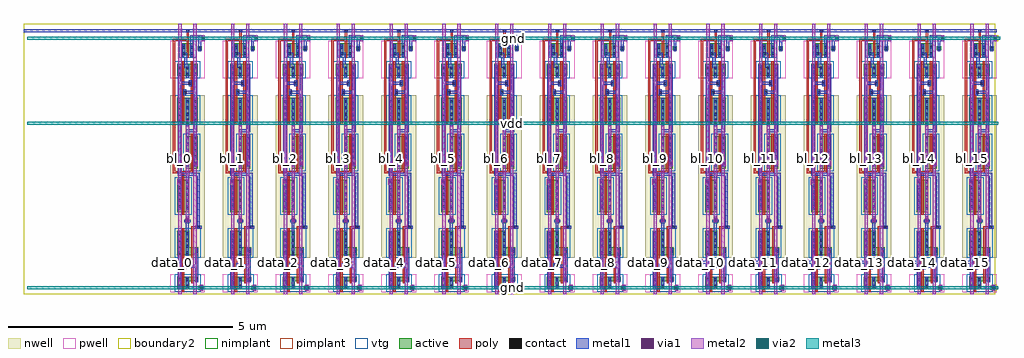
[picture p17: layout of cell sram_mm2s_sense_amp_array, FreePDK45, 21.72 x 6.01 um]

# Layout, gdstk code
import gdstk
lib = gdstk.Library(unit=1e-6, precision=5e-10)
def R(c, l, rs):  # rectangles x0, y0, x1, y1
    for r in rs: c.add(gdstk.rectangle(r[:2], r[2:], *l))
def A(c, l, x, y, w, h, nx, ny, dx, dy):  # array of equal rectangles
    R(c, l, [(x+i*dx, y+j*dy, x+i*dx+w, y+j*dy+h) for i in range(nx) for j in range(ny)])
def P(c, l, *ps):  # polygons
    for p in ps: c.add(gdstk.Polygon(p, *l))
active = (1, 0)
pwell = (2, 0)
nwell = (3, 0)
nimplant = (4, 0)
pimplant = (5, 0)
vtg = (6, 0)
poly = (9, 0)
contact = (10, 0)
metal1 = (11, 0)
via1 = (12, 0)
metal2 = (13, 0)
via2 = (14, 0)
metal3 = (15, 0)
boundary2 = (239, 0)

sense_amp = lib.new_cell('sense_amp')
R(sense_amp, active, [(0.595,0.095,0.685,0.185), (0.3075,1.58,0.3975,1.67), (0.1275,1.82,0.3875,2.54), (0.1275,1.82,0.2025,2.54), (0.1275,1.82,0.2025,2.54), (0.3125,1.82,0.3875,2.54), (0.3125,1.82,0.3875,2.54), (0.1275,1.905,0.2025,2.54), (0.3125,1.905,0.3875,2.54), (0.3175,2.79,0.5775,3.51), (0.3175,2.79,0.3925,3.51), (0.3175,2.79,0.3925,3.51), (0.5025,2.79,0.5775,3.51), (0.5025,2.79,0.5775,3.51), (0.3175,2.875,0.3925,3.51), (0.5025,2.875,0.5775,3.51), (0.1275,3.8275,0.2025,4.3225), (0.1275,3.8275,0.3875,4.3675), (0.1275,3.8275,0.2025,4.3675), (0.1275,3.8275,0.2025,4.3675), (0.3125,3.8275,0.3875,4.3225), (0.3125,3.8275,0.3875,4.3675), (0.3125,3.8275,0.3875,4.3675), (0.3175,3.8275,0.3925,4.3225), (0.3175,3.8275,0.5775,4.3675), (0.3175,3.8275,0.3925,4.3675), (0.3175,3.8275,0.3925,4.3675), (0.5025,3.8275,0.5775,4.3225), (0.5025,3.8275,0.5775,4.3675), (0.5025,3.8275,0.5775,4.3675), (0.1275,4.8525,0.2025,5.0675), (0.1275,4.8525,0.3875,5.1225), (0.1275,4.8525,0.2025,5.1225), (0.1275,4.8525,0.2025,5.1225), (0.3125,4.8525,0.3875,5.0675), (0.3125,4.8525,0.3875,5.1225), (0.3125,4.8525,0.3875,5.1225), (0.3175,4.8525,0.3925,5.0675), (0.3175,4.8525,0.5775,5.1225), (0.3175,4.8525,0.3925,5.1225), (0.3175,4.8525,0.3925,5.1225), (0.5025,4.8525,0.5775,5.0675), (0.5025,4.8525,0.5775,5.1225), (0.5025,4.8525,0.5775,5.1225), (0.2275,5.31,0.3025,5.525), (0.2275,5.31,0.4875,5.58), (0.2275,5.31,0.3025,5.58), (0.2275,5.31,0.3025,5.58), (0.4125,5.31,0.4875,5.525), (0.4125,5.31,0.4875,5.58), (0.4125,5.31,0.4875,5.58), (0.58,5.42,0.67,5.51)])
P(sense_amp, active, [(0.1275,0.11),(0.1275,0.38),(0.5925,0.38),(0.5925,0.29),(0.3875,0.29),(0.3875,0.11)],
  [(0.1275,0.865),(0.1275,1.405),(0.3875,1.405),(0.3875,1.045),(0.5925,1.045),(0.5925,0.865)])
R(sense_amp, pwell, [(-0.035,0.055,0.74,0.435), (-0.035,4.7975,0.74,5.635), (0.0725,4.7975,0.4425,5.1775), (0.2625,4.7975,0.6325,5.1775), (0.1725,5.255,0.5425,5.635), (0.525,5.365,0.725,5.565)])
P(sense_amp, pwell, [(-0.035,0.04),(-0.035,0.055),(0.595,0.055),(0.595,0.095),(0.685,0.095),(0.685,0.055),(0.74,0.055),(0.74,0.04)])
R(sense_amp, nwell, [(-0.035,0.81,0.74,4.4225), (0.0725,1.765,0.4425,2.595), (0.2625,2.735,0.6325,3.565), (0.0725,3.7725,0.4425,4.4225), (0.2625,3.7725,0.6325,4.4225)])
R(sense_amp, nimplant, [(0.3075,1.58,0.3975,1.67), (0.1275,4.8525,0.3875,5.1225), (0.3175,4.8525,0.5775,5.1225), (0.2275,5.31,0.4875,5.58)])
P(sense_amp, nimplant, [(0.1275,0.11),(0.1275,0.38),(0.5925,0.38),(0.5925,0.29),(0.3875,0.29),(0.3875,0.11)])
R(sense_amp, pimplant, [(0.595,0.095,0.685,0.185), (0.1275,1.82,0.3875,2.54), (0.3175,2.79,0.5775,3.51), (0.1275,3.8275,0.3875,4.3675), (0.3175,3.8275,0.5775,4.3675), (0.58,5.42,0.67,5.51)])
P(sense_amp, pimplant, [(0.1275,0.865),(0.1275,1.405),(0.3875,1.405),(0.3875,1.045),(0.5925,1.045),(0.5925,0.865)])
R(sense_amp, vtg, [(0.0725,0.055,0.6475,0.435), (0.0725,0.81,0.645,1.46), (0.0725,1.765,0.4425,2.595), (0.2625,2.735,0.6325,3.565), (0.0725,3.7725,0.4425,4.4225), (0.2625,3.7725,0.6325,4.4225), (0.0725,4.7975,0.4425,5.1775), (0.2625,4.7975,0.6325,5.1775), (0.1725,5.255,0.5425,5.635)])
R(sense_amp, poly, [(0.2325,0.055,0.2825,1.46), (0.2575,0.585,0.3325,0.66), (0.2325,1.765,0.2825,1.82), (0.2325,1.765,0.2825,2.595), (0.2325,2.54,0.2825,2.595), (0.2325,2.595,0.2825,2.685), (0.0275,2.685,0.4725,2.735), (0.0275,2.735,0.0775,5.635), (0.4225,2.735,0.4725,2.79), (0.4225,2.735,0.4725,3.565), (0.4225,3.51,0.4725,3.565), (0.2325,3.7725,0.2825,3.8275), (0.2325,3.7725,0.2825,4.4225), (0.4225,3.7725,0.4725,3.8275), (0.4225,3.7725,0.4725,4.4225), (0.2325,4.04,0.2825,4.7975), (0.4225,4.04,0.4725,4.7975), (0.2325,4.3675,0.2825,4.4225), (0.4225,4.3675,0.4725,4.4225), (0.2575,4.4525,0.3325,4.5275), (0.3725,4.6525,0.4475,4.7275), (0.2325,4.7975,0.2825,4.8525), (0.2325,4.7975,0.2825,5.1775), (0.4225,4.7975,0.4725,4.8525), (0.4225,4.7975,0.4725,5.1775), (0.2325,5.1225,0.2825,5.1775), (0.4225,5.1225,0.4725,5.1775), (0.3325,5.255,0.3825,5.31), (0.3325,5.255,0.3825,5.635), (0.3325,5.58,0.3825,5.635), (0.0275,5.635,0.3825,5.685), (0.3325,5.685,0.3825,5.89), (0.32,5.8225,0.395,5.8975)])
P(sense_amp, poly, [(0.4375,0.235),(0.4375,1.505),(0.56,1.505),(0.56,1.525),(0.635,1.525),(0.635,1.45),(0.4875,1.45),(0.4875,0.235)])
A(sense_amp, contact, 0.1325, 0.8875, 0.065, 0.065, 1, 4, 0, 0.14)
A(sense_amp, contact, 0.3175, 0.8875, 0.065, 0.065, 1, 4, 0, 0.14)
A(sense_amp, contact, 0.1325, 1.91, 0.065, 0.065, 1, 5, 0, 0.14)
A(sense_amp, contact, 0.3175, 1.91, 0.065, 0.065, 1, 5, 0, 0.14)
A(sense_amp, contact, 0.3225, 2.88, 0.065, 0.065, 1, 5, 0, 0.14)
A(sense_amp, contact, 0.5075, 2.88, 0.065, 0.065, 1, 5, 0, 0.14)
A(sense_amp, contact, 0.1325, 3.8325, 0.065, 0.065, 1, 4, 0, 0.14)
A(sense_amp, contact, 0.3225, 3.8325, 0.065, 0.065, 1, 4, 0, 0.14)
A(sense_amp, contact, 0.5075, 3.8325, 0.065, 0.065, 1, 4, 0, 0.14)
R(sense_amp, contact, [(0.61,0.1075,0.675,0.1725), (0.1325,0.1425,0.1975,0.2075), (0.3175,0.1425,0.3825,0.2075), (0.1325,0.2825,0.1975,0.3475), (0.3175,0.2825,0.3825,0.3475), (0.5225,0.3,0.5875,0.365), (0.2625,0.59,0.3275,0.655), (0.5225,0.92,0.5875,0.985), (0.565,1.455,0.63,1.52), (0.32,1.5925,0.385,1.6575), (0.2625,4.4575,0.3275,4.5225), (0.3775,4.6575,0.4425,4.7225), (0.1325,4.8575,0.1975,4.9225), (0.3225,4.8575,0.3875,4.9225), (0.5075,4.8575,0.5725,4.9225), (0.1325,4.9975,0.1975,5.0625), (0.3225,4.9975,0.3875,5.0625), (0.5075,4.9975,0.5725,5.0625), (0.2325,5.315,0.2975,5.38), (0.4175,5.315,0.4825,5.38), (0.5925,5.4325,0.6575,5.4975), (0.2325,5.455,0.2975,5.52), (0.4175,5.455,0.4825,5.52), (0.325,5.8275,0.39,5.8925)])
R(sense_amp, metal1, [(0.1325,0.1075,0.1975,1.4075), (0.3175,0.1075,0.3825,0.3825), (0.3825,0.1075,0.5675,0.1725), (0.5225,0.265,0.5875,0.3), (0.2625,0.555,0.3275,0.69), (-0.0025,0.64,0.0625,0.775), (-0.0075,0.67,0.0675,0.745), (0.0675,0.675,0.1325,0.74), (0.3175,0.8525,0.3825,0.8875), (0.3175,0.8875,0.3825,1.6575), (0.5225,0.985,0.5875,1.02), (0.53,1.455,0.665,1.52), (0.565,1.455,0.63,2.7), (0.285,1.5925,0.42,1.6575), (0.32,1.5925,0.385,1.7275), (0.1325,1.875,0.1975,2.57), (0.3175,1.875,0.3825,2.57), (0.1275,2.435,0.1925,2.57), (0.32,2.5025,0.385,2.7), (0.1325,2.635,0.63,2.7), (0.1325,2.7,0.1975,3.7975), (0.3225,2.845,0.3875,3.54), (0.5075,2.845,0.5725,3.54), (0.51,2.845,0.575,2.98), (0.3225,3.475,0.3875,3.67), (0.3225,3.605,0.5725,3.67), (0.5075,3.605,0.5725,3.8), (0.32,3.735,0.385,3.87), (0.1325,3.7975,0.1975,4.3525), (0.3175,3.7975,0.3825,4.3525), (0.3225,3.7975,0.3875,4.3525), (0.5075,3.7975,0.5725,4.3525), (0.1325,3.96,0.1975,4.8275), (0.5075,3.96,0.5725,4.8225), (0.2625,4.4225,0.3275,4.5575), (0.2825,4.4575,0.5725,4.5225), (0.3775,4.6225,0.4425,4.7575), (0.1325,4.6575,0.4225,4.7225), (0.1325,4.8225,0.1975,5.0975), (0.3175,4.8225,0.3825,5.0975), (0.3225,4.8225,0.3875,5.0975), (0.5075,4.8225,0.5725,5.0975), (0.2825,5.04,0.3525,5.3675), (0.2325,5.28,0.2975,5.555), (0.4175,5.28,0.4825,5.555), (0.5925,5.3975,0.6575,5.5325), (0.5925,5.5325,0.6575,5.7625), (0.4175,5.545,0.4825,5.6975), (0.6575,5.6275,0.6725,5.6975), (0.6725,5.6275,0.7375,5.7625), (0.4175,5.6975,0.74,5.7625), (-0.035,5.8275,0.74,5.8925), (-0.035,5.8275,0.74,5.8925), (0.23,5.8275,0.295,5.8925), (0.29,5.8275,0.425,5.8925)])
P(sense_amp, metal1, [(0.5225,0.3),(0.5225,0.59),(0.2625,0.59),(0.2625,0.655),(0.5225,0.655),(0.5225,0.985),(0.5875,0.985),(0.5875,0.3)],
  [(0.6325,0.0725),(0.6325,0.1075),(0.5675,0.1075),(0.5675,0.1725),(0.6325,0.1725),(0.6325,0.2075),(0.6975,0.2075),(0.6975,0.1725),(0.71,0.1725),(0.71,0.1075),(0.6975,0.1075),(0.6975,0.0725)],
  [(0,1.4525),(0,1.4525),(0,1.4525),(0,1.4525)])
R(sense_amp, via1, [(0.6325,0.1075,0.6975,0.1725), (-0.0025,0.675,0.0625,0.74), (0.32,1.6275,0.385,1.6925), (0.1275,2.47,0.1925,2.535), (0.51,2.88,0.575,2.945), (0.32,3.77,0.385,3.835), (0.6725,5.6625,0.7375,5.7275)])
R(sense_amp, metal2, [(0.15,0,0.22,6.01), (0.15,0,0.22,6.01), (0.485,0,0.555,6.01), (0.485,0,0.555,6.01), (0.6275,0.0725,0.7025,0.2075), (0.6275,0.0725,0.7025,0.2075), (0.6275,0.1025,0.7025,0.1775), (-0.01,0.64,0.0675,0.775), (-0.01,0.64,0.0675,0.775), (-0.0075,0.67,0.0675,0.745), (0.3175,1.5925,0.3875,1.7275), (0.3175,1.725,0.3875,3.735), (0.125,2.435,0.195,2.57), (0.5075,2.845,0.5775,2.98), (0.3175,3.735,0.3875,3.87), (0.3175,3.735,0.3875,3.87), (0.67,5.6275,0.74,5.7625), (0.67,5.6275,0.74,5.7625)])
R(sense_amp, boundary2, [(0,0,0.705,6.01)])
sense_amp.add(gdstk.Label('en', (0.258,5.86), layer=11, texttype=0))
sense_amp.add(gdstk.Label('dout', (0.0285,0.6925), layer=13, texttype=0))
sense_amp.add(gdstk.Label('gnd', (0.6555,0.1235), layer=13, texttype=0))
sense_amp.add(gdstk.Label('bl', (0.19,0.005), layer=13, texttype=0))
sense_amp.add(gdstk.Label('br', (0.52,0.0065), layer=13, texttype=0))
sense_amp.add(gdstk.Label('vdd', (0.3525,3.8), layer=13, texttype=0))
sense_amp.add(gdstk.Label('gnd', (0.7025,5.735), layer=13, texttype=0))
sense_amp.add(gdstk.Label('bl', (0.185,3.005), layer=13, texttype=0))
sense_amp.add(gdstk.Label('br', (0.52,3.005), layer=13, texttype=0))
sense_amp.add(gdstk.Label('dout', (0.029,0.7075), layer=13, texttype=0))
sense_amp.add(gdstk.Label('en', (0.3525,5.86), layer=11, texttype=0))
sense_amp.add(gdstk.Label('vdd', (0.3525,3.8025), layer=13, texttype=0))
sense_amp.add(gdstk.Label('gnd', (0.665,0.14), layer=13, texttype=0))
sense_amp.add(gdstk.Label('gnd', (0.705,5.695), layer=13, texttype=0))

sram_mm2s_contact_18 = lib.new_cell('sram_mm2s_contact_18')
R(sram_mm2s_contact_18, metal2, [(0.0325,0,0.1025,0.135)])
R(sram_mm2s_contact_18, via2, [(0.035,0.035,0.1,0.1)])
R(sram_mm2s_contact_18, metal3, [(0,0.0325,0.135,0.1025)])
R(sram_mm2s_contact_18, boundary2, [(0,0,0.135,0.135)])

sram_mm2s_sense_amp_arra = lib.new_cell('sram_mm2s_sense_amp_array')
A(sram_mm2s_sense_amp_arra, metal1, 3.605, 5.8275, 0.065, 0.065, 16, 1, 1.175, 0)
R(sram_mm2s_sense_amp_arra, metal1, [(0,5.8275,21.615,5.8925)])
A(sram_mm2s_sense_amp_arra, metal2, 3.275, 0.64, 0.0775, 0.135, 16, 1, 1.175, 0)
R(sram_mm2s_sense_amp_arra, metal2, [(3.435,0,3.505,6.01), (3.77,0,3.84,6.01), (4.61,0,4.68,6.01), (4.945,0,5.015,6.01), (5.785,0,5.855,6.01), (6.12,0,6.19,6.01), (6.96,0,7.03,6.01), (7.295,0,7.365,6.01), (8.135,0,8.205,6.01), (8.47,0,8.54,6.01), (9.31,0,9.38,6.01), (9.645,0,9.715,6.01), (10.485,0,10.555,6.01), (10.82,0,10.89,6.01), (11.66,0,11.73,6.01), (11.995,0,12.065,6.01), (12.835,0,12.905,6.01), (13.17,0,13.24,6.01), (14.01,0,14.08,6.01), (14.345,0,14.415,6.01), (15.185,0,15.255,6.01), (15.52,0,15.59,6.01), (16.36,0,16.43,6.01), (16.695,0,16.765,6.01), (17.535,0,17.605,6.01), (17.87,0,17.94,6.01), (18.71,0,18.78,6.01), (19.045,0,19.115,6.01), (19.885,0,19.955,6.01), (20.22,0,20.29,6.01), (21.06,0,21.13,6.01), (21.395,0,21.465,6.01)])
R(sram_mm2s_sense_amp_arra, metal3, [(0.0675,0.105,21.6825,0.175), (0.0675,3.7675,21.6825,3.8375), (0.0675,5.66,21.7175,5.73)])
R(sram_mm2s_sense_amp_arra, boundary2, [(0,0,21.615,6.01)])
sram_mm2s_sense_amp_arra.add(gdstk.Reference(sense_amp, (3.285,0)))
sram_mm2s_sense_amp_arra.add(gdstk.Reference(sense_amp, (4.46,0)))
sram_mm2s_sense_amp_arra.add(gdstk.Reference(sense_amp, (5.635,0)))
sram_mm2s_sense_amp_arra.add(gdstk.Reference(sense_amp, (6.81,0)))
sram_mm2s_sense_amp_arra.add(gdstk.Reference(sense_amp, (7.985,0)))
sram_mm2s_sense_amp_arra.add(gdstk.Reference(sense_amp, (9.16,0)))
sram_mm2s_sense_amp_arra.add(gdstk.Reference(sense_amp, (10.335,0)))
sram_mm2s_sense_amp_arra.add(gdstk.Reference(sense_amp, (11.51,0)))
sram_mm2s_sense_amp_arra.add(gdstk.Reference(sense_amp, (12.685,0)))
sram_mm2s_sense_amp_arra.add(gdstk.Reference(sense_amp, (13.86,0)))
sram_mm2s_sense_amp_arra.add(gdstk.Reference(sense_amp, (15.035,0)))
sram_mm2s_sense_amp_arra.add(gdstk.Reference(sense_amp, (16.21,0)))
sram_mm2s_sense_amp_arra.add(gdstk.Reference(sense_amp, (17.385,0)))
sram_mm2s_sense_amp_arra.add(gdstk.Reference(sense_amp, (18.56,0)))
sram_mm2s_sense_amp_arra.add(gdstk.Reference(sense_amp, (19.735,0)))
sram_mm2s_sense_amp_arra.add(gdstk.Reference(sense_amp, (20.91,0)))
sram_mm2s_sense_amp_arra.add(gdstk.Reference(sram_mm2s_contact_18, (3.57,3.735)))
sram_mm2s_sense_amp_arra.add(gdstk.Reference(sram_mm2s_contact_18, (4.745,3.735)))
sram_mm2s_sense_amp_arra.add(gdstk.Reference(sram_mm2s_contact_18, (5.92,3.735)))
sram_mm2s_sense_amp_arra.add(gdstk.Reference(sram_mm2s_contact_18, (7.095,3.735)))
sram_mm2s_sense_amp_arra.add(gdstk.Reference(sram_mm2s_contact_18, (8.27,3.735)))
sram_mm2s_sense_amp_arra.add(gdstk.Reference(sram_mm2s_contact_18, (9.445,3.735)))
sram_mm2s_sense_amp_arra.add(gdstk.Reference(sram_mm2s_contact_18, (10.62,3.735)))
sram_mm2s_sense_amp_arra.add(gdstk.Reference(sram_mm2s_contact_18, (11.795,3.735)))
sram_mm2s_sense_amp_arra.add(gdstk.Reference(sram_mm2s_contact_18, (12.97,3.735)))
sram_mm2s_sense_amp_arra.add(gdstk.Reference(sram_mm2s_contact_18, (14.145,3.735)))
sram_mm2s_sense_amp_arra.add(gdstk.Reference(sram_mm2s_contact_18, (15.32,3.735)))
sram_mm2s_sense_amp_arra.add(gdstk.Reference(sram_mm2s_contact_18, (16.495,3.735)))
sram_mm2s_sense_amp_arra.add(gdstk.Reference(sram_mm2s_contact_18, (17.67,3.735)))
sram_mm2s_sense_amp_arra.add(gdstk.Reference(sram_mm2s_contact_18, (18.845,3.735)))
sram_mm2s_sense_amp_arra.add(gdstk.Reference(sram_mm2s_contact_18, (20.02,3.735)))
sram_mm2s_sense_amp_arra.add(gdstk.Reference(sram_mm2s_contact_18, (21.195,3.735)))
sram_mm2s_sense_amp_arra.add(gdstk.Reference(sram_mm2s_contact_18, (3.8825,0.0725)))
sram_mm2s_sense_amp_arra.add(gdstk.Reference(sram_mm2s_contact_18, (5.0575,0.0725)))
sram_mm2s_sense_amp_arra.add(gdstk.Reference(sram_mm2s_contact_18, (6.2325,0.0725)))
sram_mm2s_sense_amp_arra.add(gdstk.Reference(sram_mm2s_contact_18, (7.4075,0.0725)))
sram_mm2s_sense_amp_arra.add(gdstk.Reference(sram_mm2s_contact_18, (8.5825,0.0725)))
sram_mm2s_sense_amp_arra.add(gdstk.Reference(sram_mm2s_contact_18, (9.7575,0.0725)))
sram_mm2s_sense_amp_arra.add(gdstk.Reference(sram_mm2s_contact_18, (10.9325,0.0725)))
sram_mm2s_sense_amp_arra.add(gdstk.Reference(sram_mm2s_contact_18, (12.1075,0.0725)))
sram_mm2s_sense_amp_arra.add(gdstk.Reference(sram_mm2s_contact_18, (13.2825,0.0725)))
sram_mm2s_sense_amp_arra.add(gdstk.Reference(sram_mm2s_contact_18, (14.4575,0.0725)))
sram_mm2s_sense_amp_arra.add(gdstk.Reference(sram_mm2s_contact_18, (15.6325,0.0725)))
sram_mm2s_sense_amp_arra.add(gdstk.Reference(sram_mm2s_contact_18, (16.8075,0.0725)))
sram_mm2s_sense_amp_arra.add(gdstk.Reference(sram_mm2s_contact_18, (17.9825,0.0725)))
sram_mm2s_sense_amp_arra.add(gdstk.Reference(sram_mm2s_contact_18, (19.1575,0.0725)))
sram_mm2s_sense_amp_arra.add(gdstk.Reference(sram_mm2s_contact_18, (20.3325,0.0725)))
sram_mm2s_sense_amp_arra.add(gdstk.Reference(sram_mm2s_contact_18, (21.5075,0.0725)))
sram_mm2s_sense_amp_arra.add(gdstk.Reference(sram_mm2s_contact_18, (3.9225,5.6275)))
sram_mm2s_sense_amp_arra.add(gdstk.Reference(sram_mm2s_contact_18, (5.0975,5.6275)))
sram_mm2s_sense_amp_arra.add(gdstk.Reference(sram_mm2s_contact_18, (6.2725,5.6275)))
sram_mm2s_sense_amp_arra.add(gdstk.Reference(sram_mm2s_contact_18, (7.4475,5.6275)))
sram_mm2s_sense_amp_arra.add(gdstk.Reference(sram_mm2s_contact_18, (8.6225,5.6275)))
sram_mm2s_sense_amp_arra.add(gdstk.Reference(sram_mm2s_contact_18, (9.7975,5.6275)))
sram_mm2s_sense_amp_arra.add(gdstk.Reference(sram_mm2s_contact_18, (10.9725,5.6275)))
sram_mm2s_sense_amp_arra.add(gdstk.Reference(sram_mm2s_contact_18, (12.1475,5.6275)))
sram_mm2s_sense_amp_arra.add(gdstk.Reference(sram_mm2s_contact_18, (13.3225,5.6275)))
sram_mm2s_sense_amp_arra.add(gdstk.Reference(sram_mm2s_contact_18, (14.4975,5.6275)))
sram_mm2s_sense_amp_arra.add(gdstk.Reference(sram_mm2s_contact_18, (15.6725,5.6275)))
sram_mm2s_sense_amp_arra.add(gdstk.Reference(sram_mm2s_contact_18, (16.8475,5.6275)))
sram_mm2s_sense_amp_arra.add(gdstk.Reference(sram_mm2s_contact_18, (18.0225,5.6275)))
sram_mm2s_sense_amp_arra.add(gdstk.Reference(sram_mm2s_contact_18, (19.1975,5.6275)))
sram_mm2s_sense_amp_arra.add(gdstk.Reference(sram_mm2s_contact_18, (20.3725,5.6275)))
sram_mm2s_sense_amp_arra.add(gdstk.Reference(sram_mm2s_contact_18, (21.5475,5.6275)))
sram_mm2s_sense_amp_arra.add(gdstk.Label('bl_0', (3.47,3.005), layer=13, texttype=0))
sram_mm2s_sense_amp_arra.add(gdstk.Label('br_0', (3.805,3.005), layer=13, texttype=0))
sram_mm2s_sense_amp_arra.add(gdstk.Label('data_0', (3.3135,0.7075), layer=13, texttype=0))
sram_mm2s_sense_amp_arra.add(gdstk.Label('bl_1', (4.645,3.005), layer=13, texttype=0))
sram_mm2s_sense_amp_arra.add(gdstk.Label('br_1', (4.98,3.005), layer=13, texttype=0))
sram_mm2s_sense_amp_arra.add(gdstk.Label('data_1', (4.489,0.7075), layer=13, texttype=0))
sram_mm2s_sense_amp_arra.add(gdstk.Label('bl_2', (5.82,3.005), layer=13, texttype=0))
sram_mm2s_sense_amp_arra.add(gdstk.Label('br_2', (6.155,3.005), layer=13, texttype=0))
sram_mm2s_sense_amp_arra.add(gdstk.Label('data_2', (5.664,0.7075), layer=13, texttype=0))
sram_mm2s_sense_amp_arra.add(gdstk.Label('bl_3', (6.995,3.005), layer=13, texttype=0))
sram_mm2s_sense_amp_arra.add(gdstk.Label('br_3', (7.33,3.005), layer=13, texttype=0))
sram_mm2s_sense_amp_arra.add(gdstk.Label('data_3', (6.839,0.7075), layer=13, texttype=0))
sram_mm2s_sense_amp_arra.add(gdstk.Label('bl_4', (8.17,3.005), layer=13, texttype=0))
sram_mm2s_sense_amp_arra.add(gdstk.Label('br_4', (8.505,3.005), layer=13, texttype=0))
sram_mm2s_sense_amp_arra.add(gdstk.Label('data_4', (8.014,0.7075), layer=13, texttype=0))
sram_mm2s_sense_amp_arra.add(gdstk.Label('bl_5', (9.345,3.005), layer=13, texttype=0))
sram_mm2s_sense_amp_arra.add(gdstk.Label('br_5', (9.68,3.005), layer=13, texttype=0))
sram_mm2s_sense_amp_arra.add(gdstk.Label('data_5', (9.189,0.7075), layer=13, texttype=0))
sram_mm2s_sense_amp_arra.add(gdstk.Label('bl_6', (10.52,3.005), layer=13, texttype=0))
sram_mm2s_sense_amp_arra.add(gdstk.Label('br_6', (10.855,3.005), layer=13, texttype=0))
sram_mm2s_sense_amp_arra.add(gdstk.Label('data_6', (10.364,0.7075), layer=13, texttype=0))
sram_mm2s_sense_amp_arra.add(gdstk.Label('bl_7', (11.695,3.005), layer=13, texttype=0))
sram_mm2s_sense_amp_arra.add(gdstk.Label('br_7', (12.03,3.005), layer=13, texttype=0))
sram_mm2s_sense_amp_arra.add(gdstk.Label('data_7', (11.539,0.7075), layer=13, texttype=0))
sram_mm2s_sense_amp_arra.add(gdstk.Label('bl_8', (12.87,3.005), layer=13, texttype=0))
sram_mm2s_sense_amp_arra.add(gdstk.Label('br_8', (13.205,3.005), layer=13, texttype=0))
sram_mm2s_sense_amp_arra.add(gdstk.Label('data_8', (12.714,0.7075), layer=13, texttype=0))
sram_mm2s_sense_amp_arra.add(gdstk.Label('bl_9', (14.045,3.005), layer=13, texttype=0))
sram_mm2s_sense_amp_arra.add(gdstk.Label('br_9', (14.38,3.005), layer=13, texttype=0))
sram_mm2s_sense_amp_arra.add(gdstk.Label('data_9', (13.889,0.7075), layer=13, texttype=0))
sram_mm2s_sense_amp_arra.add(gdstk.Label('bl_10', (15.22,3.005), layer=13, texttype=0))
sram_mm2s_sense_amp_arra.add(gdstk.Label('br_10', (15.555,3.005), layer=13, texttype=0))
sram_mm2s_sense_amp_arra.add(gdstk.Label('data_10', (15.064,0.7075), layer=13, texttype=0))
sram_mm2s_sense_amp_arra.add(gdstk.Label('bl_11', (16.395,3.005), layer=13, texttype=0))
sram_mm2s_sense_amp_arra.add(gdstk.Label('br_11', (16.73,3.005), layer=13, texttype=0))
sram_mm2s_sense_amp_arra.add(gdstk.Label('data_11', (16.239,0.7075), layer=13, texttype=0))
sram_mm2s_sense_amp_arra.add(gdstk.Label('bl_12', (17.57,3.005), layer=13, texttype=0))
sram_mm2s_sense_amp_arra.add(gdstk.Label('br_12', (17.905,3.005), layer=13, texttype=0))
sram_mm2s_sense_amp_arra.add(gdstk.Label('data_12', (17.414,0.7075), layer=13, texttype=0))
sram_mm2s_sense_amp_arra.add(gdstk.Label('bl_13', (18.745,3.005), layer=13, texttype=0))
sram_mm2s_sense_amp_arra.add(gdstk.Label('br_13', (19.08,3.005), layer=13, texttype=0))
sram_mm2s_sense_amp_arra.add(gdstk.Label('data_13', (18.589,0.7075), layer=13, texttype=0))
sram_mm2s_sense_amp_arra.add(gdstk.Label('bl_14', (19.92,3.005), layer=13, texttype=0))
sram_mm2s_sense_amp_arra.add(gdstk.Label('br_14', (20.255,3.005), layer=13, texttype=0))
sram_mm2s_sense_amp_arra.add(gdstk.Label('data_14', (19.764,0.7075), layer=13, texttype=0))
sram_mm2s_sense_amp_arra.add(gdstk.Label('bl_15', (21.095,3.005), layer=13, texttype=0))
sram_mm2s_sense_amp_arra.add(gdstk.Label('br_15', (21.43,3.005), layer=13, texttype=0))
sram_mm2s_sense_amp_arra.add(gdstk.Label('data_15', (20.939,0.7075), layer=13, texttype=0))
sram_mm2s_sense_amp_arra.add(gdstk.Label('vdd', (10.875,3.8025), layer=15, texttype=0))
sram_mm2s_sense_amp_arra.add(gdstk.Label('gnd', (10.875,0.14), layer=15, texttype=0))
sram_mm2s_sense_amp_arra.add(gdstk.Label('gnd', (10.8925,5.695), layer=15, texttype=0))
sram_mm2s_sense_amp_arra.add(gdstk.Label('en', (10.8075,5.86), layer=11, texttype=0))

lib.write_gds('sram_mm2s_sense_amp_array.gds')
